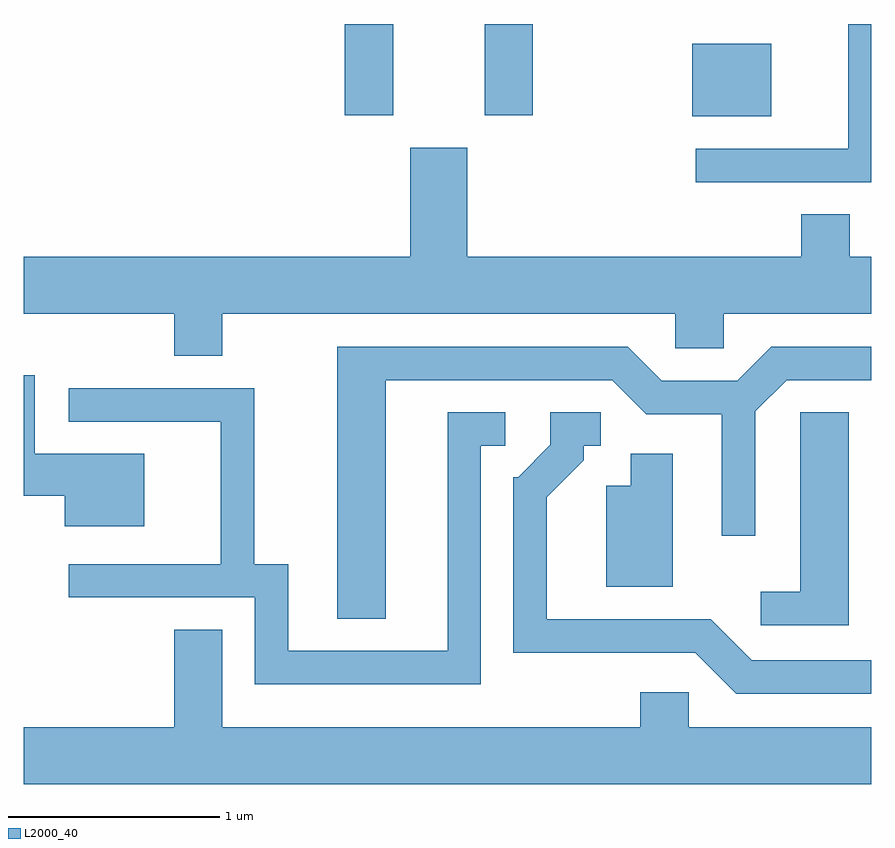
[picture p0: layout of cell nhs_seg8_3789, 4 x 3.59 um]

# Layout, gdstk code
import gdstk
lib = gdstk.Library(unit=1e-6, precision=1e-09)
def R(c, l, rs):  # rectangles x0, y0, x1, y1
    for r in rs: c.add(gdstk.rectangle(r[:2], r[2:], *l))
def P(c, l, *ps):  # polygons
    for p in ps: c.add(gdstk.Polygon(p, *l))
L2000_40 = (2000, 40)

nhs_seg8_3789 = lib.new_cell('nhs_seg8_3789')
R(nhs_seg8_3789, L2000_40, [(300.766,1943.906,301.139,1944.249), (299.126,1943.911,299.354,1944.342), (299.786,1943.911,300.014,1944.342)])
P(nhs_seg8_3789, L2000_40, [(301.611,1944.342),(301.501,1944.342),(301.501,1943.754),(300.783,1943.754),(300.783,1943.596),(301.611,1943.596)],
  [(298.549,1942.976),(300.686,1942.976),(300.686,1942.811),(300.914,1942.811),(300.914,1942.976),(301.611,1942.976),(301.611,1943.244),(301.509,1943.244),(301.509,1943.444),(301.281,1943.444),(301.281,1943.244),(299.704,1943.244),(299.704,1943.759),(299.436,1943.759),(299.436,1943.244),(297.611,1943.244),(297.611,1942.976),(298.321,1942.976),(298.321,1942.776),(298.549,1942.776)],
  [(299.319,1942.661),(300.389,1942.661),(300.549,1942.501),(300.906,1942.501),(300.906,1941.928),(301.064,1941.928),(301.064,1942.514),(301.212,1942.661),(301.611,1942.661),(301.611,1942.819),(301.139,1942.819),(300.979,1942.659),(300.622,1942.659),(300.462,1942.819),(299.091,1942.819),(299.091,1941.536),(299.319,1941.536)],
  [(298.179,1942.314),(297.664,1942.314),(297.664,1942.684),(297.611,1942.684),(297.611,1942.116),(297.806,1942.116),(297.806,1941.971),(298.179,1941.971)],
  [(299.769,1942.351),(299.883,1942.351),(299.883,1942.509),(299.611,1942.509),(299.611,1941.384),(298.859,1941.384),(298.859,1941.794),(298.699,1941.794),(298.699,1942.624),(297.823,1942.624),(297.823,1942.466),(298.541,1942.466),(298.541,1941.794),(297.823,1941.794),(297.823,1941.636),(298.701,1941.636),(298.701,1941.226),(299.769,1941.226)],
  [(301.504,1942.509),(301.276,1942.509),(301.276,1941.664),(301.088,1941.664),(301.088,1941.506),(301.504,1941.506)],
  [(301.611,1941.339),(301.047,1941.339),(300.852,1941.534),(300.079,1941.534),(300.079,1942.109),(300.254,1942.284),(300.254,1942.351),(300.333,1942.351),(300.333,1942.509),(300.096,1942.509),(300.096,1942.357),(299.944,1942.204),(299.921,1942.204),(299.921,1941.376),(300.779,1941.376),(300.974,1941.181),(301.611,1941.181)],
  [(300.674,1942.314),(300.476,1942.314),(300.476,1942.164),(300.361,1942.164),(300.361,1941.686),(300.674,1941.686)],
  [(301.611,1941.024),(300.749,1941.024),(300.749,1941.189),(300.521,1941.189),(300.521,1941.024),(298.549,1941.024),(298.549,1941.484),(298.321,1941.484),(298.321,1941.024),(297.611,1941.024),(297.611,1940.756),(301.611,1940.756)])

lib.write_gds('nhs_seg8_3789.gds')
